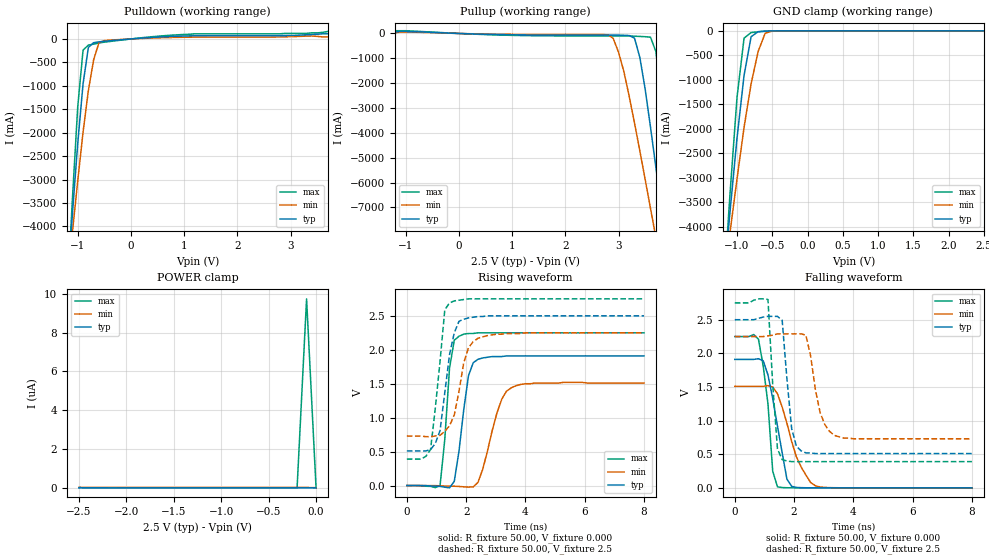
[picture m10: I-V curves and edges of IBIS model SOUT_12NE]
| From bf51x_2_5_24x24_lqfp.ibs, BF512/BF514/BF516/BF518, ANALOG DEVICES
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|   Model pupd_0812_25pad
[Model]   SOUT_12NE
Model_type   I/O
Polarity   Non-Inverting
Enable   Active-Low
Vinl =  0.70V
Vinh =   1.70V
Vmeas =   1.20V
Cref =  50.00pF
Rref =   1.00M
Vref =  0.000V
C_comp   6.07pF   6.03pF   6.09pF
[Temperature Range]   25.00   0.12k   -40.00
[Voltage Range]   2.5V   2.25V   2.75V
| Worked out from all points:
|   slope of the pulldown table from 0 to 0.375 V, typ, clamps not added: 12.1 ohm
|   slope of the pullup table from 0 to 0.375 V, typ, clamps not added: 14.4 ohm
|   GND clamp passes 1 mA (typ) near -0.47 V on its own axis
|   rising waveform, R_fixture 50.00, V_fixture 0.000: 20-80 % time 336ps typ, 554ps min, 241ps max; typ from 0.001 V to 1.91 V
|   rising waveform, R_fixture 50.00, V_fixture 2.5: 20-80 % time 378ps typ, 425ps min, 327ps max; typ from 0.51 V to 2.5 V
|   falling waveform, R_fixture 50.00, V_fixture 0.000: 20-80 % time 467ps typ, 657ps min, 285ps max; typ from 1.91 V to 0.001 V
|   falling waveform, R_fixture 50.00, V_fixture 2.5: 20-80 % time 243ps typ, 392ps min, 207ps max; typ from 2.5 V to 0.51 V
[Pulldown]
| voltage   I(typ)   I(min)   I(max)
-2.5V     -27.05A    -20.61A    -35.82A
-1.2V     -5.33A     -5.27A     -5.6A
-1.1V     -3.74A     -4.13A     -3.42A
-1V       -2.23A     -3.03A     -1.45A
-900mV    -960mA     -1.99A     -240mA
-800mV    -180mA     -1.1A      -130mA
-700mV    -79.03mA   -440mA     -110mA
-600mV    -62.18mA   -77.65mA   -85.7mA
-400mV    -38.85mA   -24.89mA   -54.29mA
1.2V      68.19mA    38.74mA    110mA
4V        78.91mA    42.48mA    180mA
5V        81.93mA    46.21mA    130mA
[Pullup]
| voltage   I(typ)   I(min)   I(max)
-2.5V     2.08mA     1.17mA     3.31mA
2.8V      -66.49mA   -56.31mA   -100mA
3V        -68.08mA   -760mA     -100mA
3.3V      -190mA     -3.61A     -110mA
3.4V      -970mA     -4.73A     -120mA
3.6V      -3.77A     -7.04A     -150mA
3.7V      -5.37A     -8.2A      -720mA
3.8V      -7A        -9.38A     -2.41A
3.9V      -8.65A     -10.56A    -4.53A
4V        -10.31A    -11.74A    -6.77A
4.1V      -11.98A    -12.92A    -9.06A
5V        -27.12A    -23.64A    -30.06A
[GND_clamp]
| voltage   I(typ)   I(min)   I(max)
-2.5V     -27.05A    -20.61A    -35.82A
-1.2V     -5.3A      -5.26A     -5.54A
-1.1V     -3.7A      -4.12A     -3.34A
-1V       -2.19A     -3.02A     -1.36A
-900mV    -910mA     -1.97A     -150mA
-800mV    -120mA     -1.08A     -34.89mA
-700mV    -16.78mA   -420mA     -20.23mA
-600mV    -6.14mA    -47.02mA   -8.79mA
-500mV    -1.38mA    -4.83mA    -1.91mA
2.5V      -290pA     20.15nA    -23.2uA
[POWER_clamp]
| voltage   I(typ)   I(min)   I(max)
-2.5V     4.88nA     24.7nA     13.55nA
-200mV    230pA      19.98nA    -92.28pA
-100mV    6.02pA     19.17nA    9.74uA
0V        -290pA     8.61nA     -130pA
[Ramp]
| variable   typ   min   max
dV/dt_r   1.16/0.32n   0.92/0.55n   1.38/0.21n
dV/dt_f   1.22/0.23n   0.94/0.39n   1.45/0.15n
R_load = 50.00
[Rising Waveform]
R_fixture = 50.00
V_fixture = 0.000
V_fixture_min = 0.000
V_fixture_max = 0.000
L_fixture = 0.000H
C_fixture = 0.000F
| time   V(typ)   V(min)   V(max)
0s        570uV      490uV      670uV
1.12ns    -12.2mV    -3.12mV    -1.51mV
1.28ns    -23.5mV    -6.66mV    680mV
1.44ns    -33.38mV   -7.54mV    1.73V
1.76ns    510mV      -12.95mV   2.2V
2.08ns    1.62V      -22.1mV    2.24V
2.4ns     1.86V      47.31mV    2.25V
3.2ns     1.9V       1.27V      2.25V
3.52ns    1.91V      1.44V      2.25V
8ns       1.91V      1.51V      2.25V
[Rising Waveform]
R_fixture = 50.00
V_fixture = 2.5
V_fixture_min = 2.25
V_fixture_max = 2.75
L_fixture = 0.000H
C_fixture = 0.000F
| time   V(typ)   V(min)   V(max)
0s        510mV      730mV      390mV
800ps     530mV      720mV      530mV
1.12ns    810mV      740mV      1.83V
1.28ns    1.37V      800mV      2.59V
1.44ns    1.93V      880mV      2.69V
1.76ns    2.42V      1.39V      2.73V
1.92ns    2.45V      1.81V      2.74V
2.08ns    2.47V      2.03V      2.75V
2.4ns     2.49V      2.17V      2.75V
8ns       2.5V       2.25V      2.75V
[Falling Waveform]
R_fixture = 50.00
V_fixture = 0.000
V_fixture_min = 0.000
V_fixture_max = 0.000
L_fixture = 0.000H
C_fixture = 0.000F
| time   V(typ)   V(min)   V(max)
0s        1.91V      1.51V      2.25V
800ps     1.92V      1.51V      2.21V
960ps     1.89V      1.51V      1.81V
1.12ns    1.68V      1.52V      1.25V
1.28ns    1.33V      1.5V       250mV
1.44ns    920mV      1.4V       15.92mV
1.76ns    130mV      960mV      2.29mV
2.08ns    6.27mV     460mV      890uV
2.72ns    880uV      32mV       670uV
8ns       570uV      490uV      670uV
[Falling Waveform]
R_fixture = 50.00
V_fixture = 2.5
V_fixture_min = 2.25
V_fixture_max = 2.75
L_fixture = 0.000H
C_fixture = 0.000F
| time   V(typ)   V(min)   V(max)
0s        2.5V       2.25V      2.75V
1.12ns    2.55V      2.26V      2.8V
1.44ns    2.55V      2.29V      580mV
1.6ns     2.49V      2.29V      420mV
1.92ns    880mV      2.29V      390mV
2.24ns    550mV      2.29V      390mV
2.4ns     520mV      2.27V      390mV
2.88ns    510mV      1.12V      390mV
3.36ns    510mV      780mV      390mV
8ns       510mV      730mV      390mV
